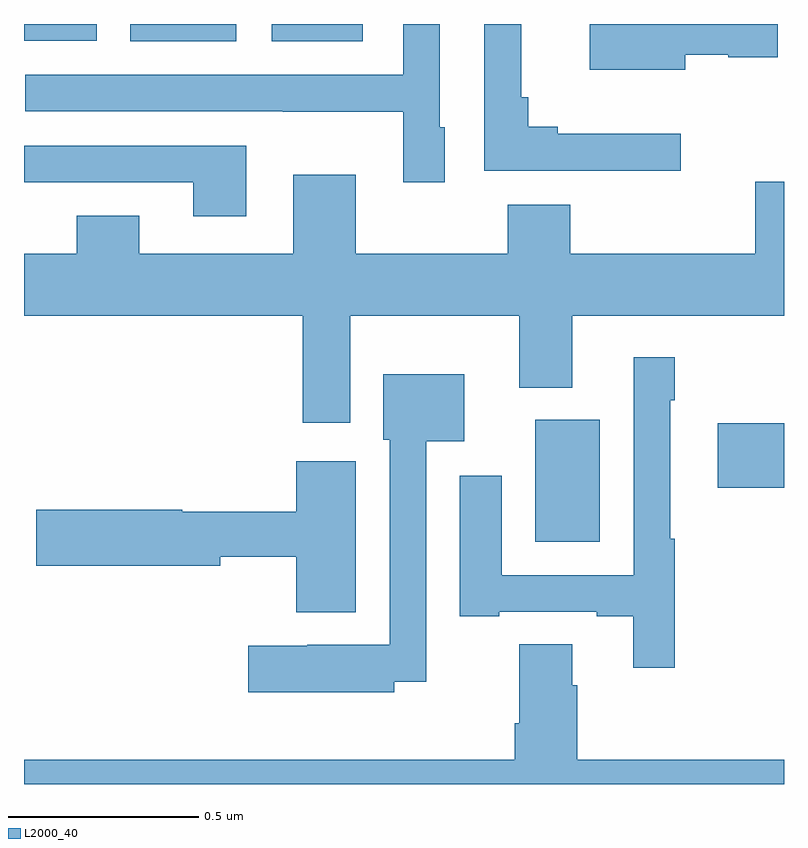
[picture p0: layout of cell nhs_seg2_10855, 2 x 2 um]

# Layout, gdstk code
import gdstk
lib = gdstk.Library(unit=1e-6, precision=1e-09)
def R(c, l, rs):  # rectangles x0, y0, x1, y1
    for r in rs: c.add(gdstk.rectangle(r[:2], r[2:], *l))
def P(c, l, *ps):  # polygons
    for p in ps: c.add(gdstk.Polygon(p, *l))
L2000_40 = (2000, 40)

nhs_seg2_10855 = lib.new_cell('nhs_seg2_10855')
R(nhs_seg2_10855, L2000_40, [(248.345,584.438,248.515,584.758), (248.826,584.579,249,584.749), (247.28,585.755,247.558,585.8), (247.652,585.755,247.891,585.8), (247,585.756,247.191,585.8)])
P(nhs_seg2_10855, L2000_40, [(248.728,585.511),(248.404,585.511),(248.404,585.53),(248.327,585.53),(248.327,585.607),(248.309,585.607),(248.309,585.8),(248.211,585.8),(248.211,585.414),(248.728,585.414)],
  [(248.107,585.528),(248.094,585.528),(248.094,585.8),(247.998,585.8),(247.998,585.666),(247.003,585.666),(247.003,585.57),(247.681,585.57),(247.681,585.569),(247.998,585.569),(247.998,585.384),(248.107,585.384)],
  [(248.74,585.719),(248.853,585.719),(248.853,585.712),(248.983,585.712),(248.983,585.8),(248.489,585.8),(248.489,585.68),(248.74,585.68)],
  [(247.585,585.48),(247,585.48),(247,585.383),(247.015,585.383),(247.015,585.384),(247.445,585.384),(247.445,585.294),(247.585,585.294)],
  [(249,585.385),(248.924,585.385),(248.924,585.196),(248.437,585.196),(248.437,585.325),(248.273,585.325),(248.273,585.196),(247.873,585.196),(247.873,585.403),(247.709,585.403),(247.709,585.196),(247.303,585.196),(247.303,585.295),(247.139,585.295),(247.139,585.196),(247,585.196),(247,585.032),(247.733,585.032),(247.733,584.751),(247.858,584.751),(247.858,585.032),(248.303,585.032),(248.303,584.843),(248.443,584.843),(248.443,585.032),(249,585.032)],
  [(248.713,584.446),(248.7,584.446),(248.7,584.81),(248.713,584.81),(248.713,584.923),(248.604,584.923),(248.604,584.349),(248.257,584.349),(248.257,584.611),(248.147,584.611),(248.147,584.241),(248.251,584.241),(248.251,584.253),(248.507,584.253),(248.507,584.241),(248.603,584.241),(248.603,584.106),(248.713,584.106)],
  [(247.974,584.069),(248.058,584.069),(248.058,584.702),(248.158,584.702),(248.158,584.878),(247.946,584.878),(247.946,584.706),(247.962,584.706),(247.962,584.166),(247.746,584.166),(247.746,584.164),(247.59,584.164),(247.59,584.042),(247.974,584.042)],
  [(247.873,584.65),(247.717,584.65),(247.717,584.516),(247.416,584.516),(247.416,584.522),(247.032,584.522),(247.032,584.375),(247.516,584.375),(247.516,584.398),(247.717,584.398),(247.717,584.252),(247.873,584.252)],
  [(249,583.864),(248.456,583.864),(248.456,584.06),(248.443,584.06),(248.443,584.168),(248.303,584.168),(248.303,583.96),(248.291,583.96),(248.291,583.864),(247,583.864),(247,583.8),(249,583.8)])

lib.write_gds('nhs_seg2_10855.gds')
